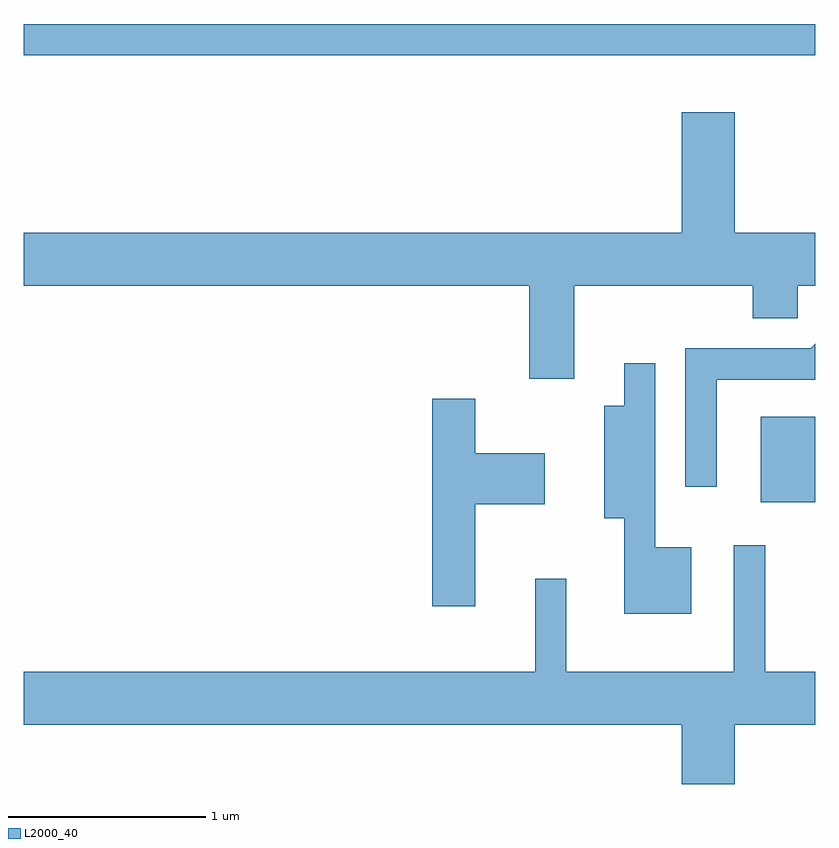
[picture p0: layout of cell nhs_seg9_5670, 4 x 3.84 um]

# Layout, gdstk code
import gdstk
lib = gdstk.Library(unit=1e-6, precision=1e-09)
def R(c, l, rs):  # rectangles x0, y0, x1, y1
    for r in rs: c.add(gdstk.rectangle(r[:2], r[2:], *l))
def P(c, l, *ps):  # polygons
    for p in ps: c.add(gdstk.Polygon(p, *l))
L2000_40 = (2000, 40)

nhs_seg9_5670 = lib.new_cell('nhs_seg9_5670')
R(nhs_seg9_5670, L2000_40, [(355.336,2063.981,355.611,2064.414), (351.611,2066.241,355.611,2066.399)])
P(nhs_seg9_5670, L2000_40, [(354.394,2065.076),(355.296,2065.076),(355.296,2064.911),(355.524,2064.911),(355.524,2065.076),(355.611,2065.076),(355.611,2065.344),(355.204,2065.344),(355.204,2065.954),(354.936,2065.954),(354.936,2065.344),(351.611,2065.344),(351.611,2065.076),(354.166,2065.076),(354.166,2064.606),(354.394,2064.606)],
  [(355.114,2064.601),(355.611,2064.601),(355.611,2064.781),(355.589,2064.759),(354.956,2064.759),(354.956,2064.058),(355.114,2064.058)],
  [(354.984,2063.754),(354.804,2063.754),(354.804,2064.683),(354.646,2064.683),(354.646,2064.469),(354.546,2064.469),(354.546,2063.901),(354.646,2063.901),(354.646,2063.416),(354.984,2063.416)],
  [(353.894,2063.971),(354.244,2063.971),(354.244,2064.229),(353.894,2064.229),(353.894,2064.504),(353.676,2064.504),(353.676,2063.456),(353.894,2063.456)],
  [(355.204,2062.856),(355.611,2062.856),(355.611,2063.124),(355.359,2063.124),(355.359,2063.762),(355.201,2063.762),(355.201,2063.124),(354.354,2063.124),(354.354,2063.593),(354.196,2063.593),(354.196,2063.124),(351.611,2063.124),(351.611,2062.856),(354.936,2062.856),(354.936,2062.556),(355.204,2062.556)])

lib.write_gds('nhs_seg9_5670.gds')
